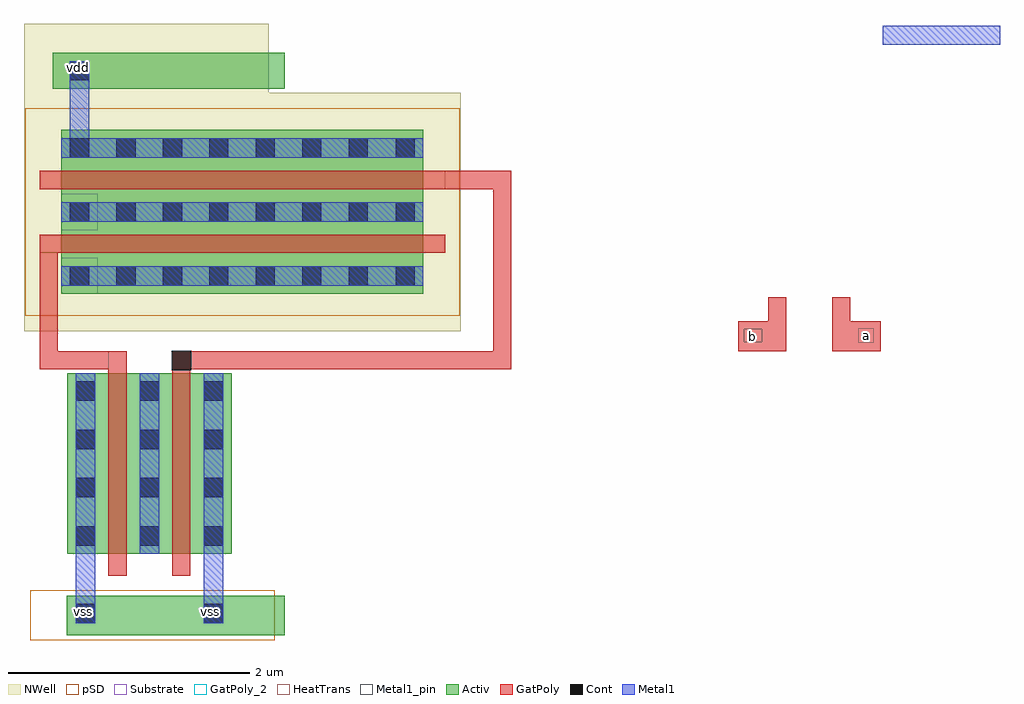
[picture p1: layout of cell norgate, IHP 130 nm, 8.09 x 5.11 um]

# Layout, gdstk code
from math import pi, radians
import gdstk
lib = gdstk.Library(unit=1e-6, precision=5e-09)
def R(c, l, rs):  # rectangles x0, y0, x1, y1
    for r in rs: c.add(gdstk.rectangle(r[:2], r[2:], *l))
def A(c, l, x, y, w, h, nx, ny, dx, dy):  # array of equal rectangles
    R(c, l, [(x+i*dx, y+j*dy, x+i*dx+w, y+j*dy+h) for i in range(nx) for j in range(ny)])
Activ = (1, 0)
GatPoly = (5, 0)
GatPoly_2 = (5, 2)
Cont = (6, 0)
Metal1 = (8, 0)
Metal1_pin = (8, 2)
pSD = (14, 0)
NWell = (31, 0)
Substrate = (40, 0)
HeatTrans = (51, 0)

pmos_5 = lib.new_cell('pmos$5')
R(pmos_5, Activ, [(0,0,0.3,0.3), (0,0,0.83,3), (0.53,0,0.83,0.3)])
R(pmos_5, GatPoly, [(0.34,-0.18,0.49,3.18), (0.34,-0.18,0.49,3.18)])
A(pmos_5, Cont, 0.07, 0.07, 0.16, 0.16, 1, 7, 0, 0.385)
A(pmos_5, Cont, 0.6, 0.07, 0.16, 0.16, 1, 7, 0, 0.385)
R(pmos_5, Cont, [(0.07,2.77,0.23,2.93), (0.6,2.77,0.76,2.93)])
R(pmos_5, Metal1, [(0.07,0,0.23,3), (0.07,0,0.23,3), (0.6,0,0.76,3), (0.6,0,0.76,3)])
R(pmos_5, pSD, [(-0.18,-0.3,1.01,3.3)])
R(pmos_5, NWell, [(-0.31,-0.31,1.14,3.31)])
R(pmos_5, Substrate, [(0.53,0,0.83,0.3)])
R(pmos_5, HeatTrans, [(0.34,-0.18,0.49,3.18)])
pmos_5.add(gdstk.Label('pmos', (0.415,1.5), layer=63, texttype=0))
pmos_5.add(gdstk.Label('pmos', (0.415,1.5), layer=51, texttype=0))

nmos_1 = lib.new_cell('nmos$1')
R(nmos_1, Activ, [(0,0,0.3,0.3), (0,0,0.83,1.5), (0.53,0,0.83,0.3)])
R(nmos_1, GatPoly, [(0.34,-0.18,0.49,1.68)])
R(nmos_1, GatPoly_2, [(0.34,-0.18,0.49,1.68)])
A(nmos_1, Cont, 0.07, 0.07, 0.16, 0.16, 1, 4, 0, 0.4)
A(nmos_1, Cont, 0.6, 0.07, 0.16, 0.16, 1, 4, 0, 0.4)
R(nmos_1, Metal1, [(0.07,0,0.23,1.5), (0.6,0,0.76,1.5)])
R(nmos_1, Metal1_pin, [(0.07,0,0.23,1.5), (0.6,0,0.76,1.5)])
R(nmos_1, HeatTrans, [(0.34,-0.18,0.49,1.68)])
nmos_1.add(gdstk.Label('nmos', (0.415,0.75), layer=63, texttype=0))
nmos_1.add(gdstk.Label('nmos', (0.415,0.75), layer=51, texttype=0))

norgate = lib.new_cell('norgate')
R(norgate, Activ, [(-6.09,-2.62,-4.285,-2.29), (-6.205,1.91,-4.285,2.21)])
R(norgate, GatPoly, [(-6.315,-0.415,-6.165,0.55), (-6.315,-0.415,-5.595,-0.265), (-5.215,-0.415,-2.405,-0.265), (-2.555,-0.415,-2.405,1.08), (-0.525,-0.265,-0.125,-0.015), (-0.275,-0.265,-0.125,0.185), (0.255,-0.265,0.655,-0.015), (0.255,-0.265,0.405,0.185), (-2.955,1.08,-2.405,1.23)])
R(norgate, GatPoly_2, [(0.47,-0.195,0.6,-0.075), (-0.48,-0.19,-0.325,-0.08)])
R(norgate, Cont, [(-6.015,-2.52,-5.855,-2.36), (-4.955,-2.52,-4.795,-2.36), (-5.22,-0.42,-5.06,-0.26), (-6.065,1.98,-5.905,2.14)])
R(norgate, Metal1, [(-6.015,-2.52,-5.855,-0.445), (-4.955,-2.52,-4.795,-0.445), (-6.065,1.34,-5.905,2.14), (0.675,2.275,1.645,2.435)])
R(norgate, Metal1_pin, [(-6.015,-2.52,-5.855,-2.355), (-4.955,-2.52,-4.795,-2.355), (-6.065,1.98,-5.905,2.14)])
R(norgate, pSD, [(-6.395,-2.66,-4.365,-2.245)])
R(norgate, NWell, [(-6.445,1.88,-4.415,2.45)])
norgate.add(gdstk.Reference(pmos_5, (-6.135,1.04), rotation=3*pi/2))
norgate.add(gdstk.Reference(pmos_5, (-6.135,1.57), rotation=3*pi/2))
norgate.add(gdstk.Reference(nmos_1, (-6.085,-1.945)))
norgate.add(gdstk.Reference(nmos_1, (-4.725,-0.445), rotation=pi))
norgate.add(gdstk.Label('vss', (-4.895,-2.425), layer=8, texttype=2))
norgate.add(gdstk.Label('vss', (-5.955,-2.425), layer=8, texttype=2))
norgate.add(gdstk.Label('vdd', (-5.995,2.085), layer=8, texttype=2))
norgate.add(gdstk.Label('b', (-0.41,-0.14), layer=5, texttype=2))
norgate.add(gdstk.Label('a', (0.535,-0.135), layer=5, texttype=2))

lib.write_gds('norgate.gds')
